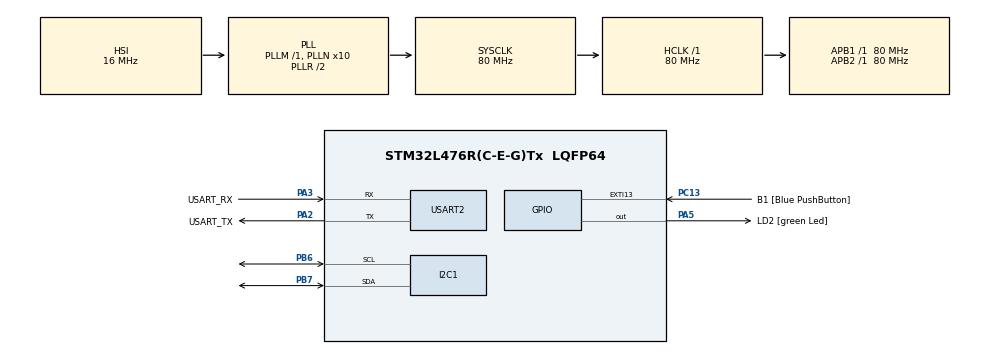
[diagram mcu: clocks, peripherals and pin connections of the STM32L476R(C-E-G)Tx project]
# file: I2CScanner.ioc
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I2C1.Timing=0x10909CEC
Mcu.Family=STM32L4
Mcu.Name=STM32L476R(C-E-G)Tx
Mcu.Package=LQFP64
NVIC.PriorityGroup=NVIC_PRIORITYGROUP_4
PA13\ (JTMS-SWDIO).GPIO_Label=TMS
PA13\ (JTMS-SWDIO).Mode=Serial_Wire
PA13\ (JTMS-SWDIO).Signal=SYS_JTMS-SWDIO
PA14\ (JTCK-SWCLK).GPIO_Label=TCK
PA14\ (JTCK-SWCLK).Mode=Serial_Wire
PA14\ (JTCK-SWCLK).Signal=SYS_JTCK-SWCLK
PA2.GPIO_Label=USART_TX
PA2.GPIO_Mode=GPIO_MODE_AF_PP
PA2.GPIO_PuPd=GPIO_NOPULL
PA2.GPIO_Speed=GPIO_SPEED_FREQ_VERY_HIGH
PA2.Mode=Asynchronous
PA2.Signal=USART2_TX
PA3.GPIO_Label=USART_RX
PA3.GPIO_Mode=GPIO_MODE_AF_PP
PA3.GPIO_PuPd=GPIO_NOPULL
PA3.GPIO_Speed=GPIO_SPEED_FREQ_VERY_HIGH
PA3.Mode=Asynchronous
PA3.Signal=USART2_RX
PA5.GPIO_Label=LD2 [green Led]
PA5.GPIO_ModeDefaultOutputPP=GPIO_MODE_OUTPUT_PP
PA5.GPIO_PuPd=GPIO_NOPULL
PA5.GPIO_Speed=GPIO_SPEED_FREQ_LOW
PA5.Signal=GPIO_Output
PB3\ (JTDO-TRACESWO).GPIO_Label=SWO
PB3\ (JTDO-TRACESWO).Signal=SYS_JTDO-SWO
PB6.Mode=I2C
PB6.Signal=I2C1_SCL
PB7.Mode=I2C
PB7.Signal=I2C1_SDA
PC13.GPIO_Label=B1 [Blue PushButton]
PC13.GPIO_ModeDefaultEXTI=GPIO_MODE_IT_FALLING
PC13.GPIO_PuPd=GPIO_NOPULL
PC13.Signal=GPXTI13
PC14-OSC32_IN\ (PC14).Mode=LSE-External-Oscillator
PC14-OSC32_IN\ (PC14).Signal=RCC_OSC32_IN
PC15-OSC32_OUT\ (PC15).Mode=LSE-External-Oscillator
PC15-OSC32_OUT\ (PC15).Signal=RCC_OSC32_OUT
PH0-OSC_IN\ (PH0).Signal=RCC_OSC_IN
PH1-OSC_OUT\ (PH1).Signal=RCC_OSC_OUT
ProjectManager.HeapSize=0x200
ProjectManager.StackSize=0x400
ProjectManager.TargetToolchain=STM32CubeIDE
RCC.ADCFreq_Value=64000000
RCC.AHBFreq_Value=80000000
RCC.APB1Freq_Value=80000000
RCC.APB1TimFreq_Value=80000000
RCC.APB2Freq_Value=80000000
RCC.APB2TimFreq_Value=80000000
RCC.CortexFreq_Value=80000000
RCC.HCLKFreq_Value=80000000
RCC.HSE_VALUE=8000000
RCC.HSI_VALUE=16000000
RCC.MSI_VALUE=4000000
RCC.PLLN=10
RCC.PLLSourceVirtual=RCC_PLLSOURCE_HSI
RCC.PREFETCH_ENABLE=1
RCC.SYSCLKFreq_VALUE=80000000
RCC.SYSCLKSource=RCC_SYSCLKSOURCE_PLLCLK
RCC.USBFreq_Value=64000000
RCC.VCOOutputFreq_Value=160000000
USART2.VirtualMode-Asynchronous=VM_ASYNC
board=NUCLEO-L476RG

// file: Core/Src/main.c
/* USER CODE BEGIN Header */
/**
  ******************************************************************************
  * @file           : main.c
  * @brief          : Main program body
  ******************************************************************************
  * @attention
  *
  * Copyright (c) 2022 STMicroelectronics.
  * All rights reserved.
  *
  * This software is licensed under terms that can be found in the LICENSE file
  * in the root directory of this software component.
  * If no LICENSE file comes with this software, it is provided AS-IS.
  *
  ******************************************************************************
  */
/* USER CODE END Header */
#include "main.h"

/* USER CODE BEGIN Includes */
#include <string.h>
#include <stdio.h>
#include <stdlib.h>

/* USER CODE END Includes */

 I2C_HandleTypeDef hi2c1;

UART_HandleTypeDef huart2;

void SystemClock_Config(void);
static void MX_GPIO_Init(void);
static void MX_USART2_UART_Init(void);
static void MX_I2C1_Init(void);

int main(void)
{
  /* USER CODE BEGIN 1 */
	uint8_t Buffer[100];

	const uint8_t DevAddress = 0x11;
	const uint8_t CommandCodeSize = 1;
	uint8_t RegisterBuffer[4];

	uint8_t CommandCode = 0x00;
	const uint8_t MaxCommandCode = 0x17;

  /* USER CODE END 1 */

  /* MCU Configuration--------------------------------------------------------*/

  /* Reset of all peripherals, Initializes the Flash interface and the Systick. */
  HAL_Init();

  /* Configure the system clock */
  SystemClock_Config();

  /* Initialize all configured peripherals */
  MX_GPIO_Init();
  MX_USART2_UART_Init();
  MX_I2C1_Init();
  /* USER CODE BEGIN 2 */

  void SendText(char Message[]) {
	strcpy((char*) Buffer, Message);
	HAL_UART_Transmit(&huart2, Buffer, strlen((char*)Buffer), 1000);
	return;
  }

  SendText("Begin I2C Scan for there/r/n");

  /* USER CODE END 2 */

  /* Infinite loop */
  while (1)
  {

    /* USER CODE BEGIN 3 */
	  char* MemReadResultBuffer = (char*) malloc(50 * sizeof(char));

	  for (CommandCode = 0x00; CommandCode <= MaxCommandCode; CommandCode++) {
		  HAL_I2C_Mem_Read(&hi2c1, DevAddress << 1, CommandCode, CommandCodeSize, RegisterBuffer, strlen((char*) RegisterBuffer), 1000);
		  HAL_UART_Transmit(&huart2, Buffer, strlen((char*)Buffer), 1000);
		  sprintf(MemReadResultBuffer, "%s %i %i/r/n", "Command Code:", RegisterBuffer[0], RegisterBuffer[1]);
		  SendText(MemReadResultBuffer);
		  HAL_Delay(500);
	  }

	  free(MemReadResultBuffer);
  }
  /* USER CODE END 3 */
}

void SystemClock_Config(void)
{
  RCC_OscInitTypeDef RCC_OscInitStruct = {0};
  RCC_ClkInitTypeDef RCC_ClkInitStruct = {0};

  /** Configure the main internal regulator output voltage
  */
  if (HAL_PWREx_ControlVoltageScaling(PWR_REGULATOR_VOLTAGE_SCALE1) != HAL_OK)
  {
    Error_Handler();
  }

  /** Initializes the RCC Oscillators according to the specified parameters
  * in the RCC_OscInitTypeDef structure.
  */
  RCC_OscInitStruct.OscillatorType = RCC_OSCILLATORTYPE_HSI;
  RCC_OscInitStruct.HSIState = RCC_HSI_ON;
  RCC_OscInitStruct.HSICalibrationValue = RCC_HSICALIBRATION_DEFAULT;
  RCC_OscInitStruct.PLL.PLLState = RCC_PLL_ON;
  RCC_OscInitStruct.PLL.PLLSource = RCC_PLLSOURCE_HSI;
  RCC_OscInitStruct.PLL.PLLM = 1;
  RCC_OscInitStruct.PLL.PLLN = 10;
  RCC_OscInitStruct.PLL.PLLP = RCC_PLLP_DIV7;
  RCC_OscInitStruct.PLL.PLLQ = RCC_PLLQ_DIV2;
  RCC_OscInitStruct.PLL.PLLR = RCC_PLLR_DIV2;
  if (HAL_RCC_OscConfig(&RCC_OscInitStruct) != HAL_OK)
  {
    Error_Handler();
  }

  /** Initializes the CPU, AHB and APB buses clocks
  */
  RCC_ClkInitStruct.ClockType = RCC_CLOCKTYPE_HCLK|RCC_CLOCKTYPE_SYSCLK
                              |RCC_CLOCKTYPE_PCLK1|RCC_CLOCKTYPE_PCLK2;
  RCC_ClkInitStruct.SYSCLKSource = RCC_SYSCLKSOURCE_PLLCLK;
  RCC_ClkInitStruct.AHBCLKDivider = RCC_SYSCLK_DIV1;
  RCC_ClkInitStruct.APB1CLKDivider = RCC_HCLK_DIV1;
  RCC_ClkInitStruct.APB2CLKDivider = RCC_HCLK_DIV1;

  if (HAL_RCC_ClockConfig(&RCC_ClkInitStruct, FLASH_LATENCY_4) != HAL_OK)
  {
    Error_Handler();
  }
}

static void MX_I2C1_Init(void)
{

  hi2c1.Instance = I2C1;
  hi2c1.Init.Timing = 0x10909CEC;
  hi2c1.Init.OwnAddress1 = 0;
  hi2c1.Init.AddressingMode = I2C_ADDRESSINGMODE_7BIT;
  hi2c1.Init.DualAddressMode = I2C_DUALADDRESS_DISABLE;
  hi2c1.Init.OwnAddress2 = 0;
  hi2c1.Init.OwnAddress2Masks = I2C_OA2_NOMASK;
  hi2c1.Init.GeneralCallMode = I2C_GENERALCALL_DISABLE;
  hi2c1.Init.NoStretchMode = I2C_NOSTRETCH_DISABLE;
  if (HAL_I2C_Init(&hi2c1) != HAL_OK)
  {
    Error_Handler();
  }

  /** Configure Analogue filter
  */
  if (HAL_I2CEx_ConfigAnalogFilter(&hi2c1, I2C_ANALOGFILTER_ENABLE) != HAL_OK)
  {
    Error_Handler();
  }

  /** Configure Digital filter
  */
  if (HAL_I2CEx_ConfigDigitalFilter(&hi2c1, 0) != HAL_OK)
  {
    Error_Handler();
  }

}

static void MX_USART2_UART_Init(void)
{

  huart2.Instance = USART2;
  huart2.Init.BaudRate = 115200;
  huart2.Init.WordLength = UART_WORDLENGTH_8B;
  huart2.Init.StopBits = UART_STOPBITS_1;
  huart2.Init.Parity = UART_PARITY_NONE;
  huart2.Init.Mode = UART_MODE_TX_RX;
  huart2.Init.HwFlowCtl = UART_HWCONTROL_NONE;
  huart2.Init.OverSampling = UART_OVERSAMPLING_16;
  huart2.Init.OneBitSampling = UART_ONE_BIT_SAMPLE_DISABLE;
  huart2.AdvancedInit.AdvFeatureInit = UART_ADVFEATURE_NO_INIT;
  if (HAL_UART_Init(&huart2) != HAL_OK)
  {
    Error_Handler();
  }

}

static void MX_GPIO_Init(void)
{
  GPIO_InitTypeDef GPIO_InitStruct = {0};

  /* GPIO Ports Clock Enable */
  __HAL_RCC_GPIOC_CLK_ENABLE();
  __HAL_RCC_GPIOH_CLK_ENABLE();
  __HAL_RCC_GPIOA_CLK_ENABLE();
  __HAL_RCC_GPIOB_CLK_ENABLE();

  /*Configure GPIO pin Output Level */
  HAL_GPIO_WritePin(LD2_GPIO_Port, LD2_Pin, GPIO_PIN_RESET);

  /*Configure GPIO pin : B1_Pin */
  GPIO_InitStruct.Pin = B1_Pin;
  GPIO_InitStruct.Mode = GPIO_MODE_IT_FALLING;
  GPIO_InitStruct.Pull = GPIO_NOPULL;
  HAL_GPIO_Init(B1_GPIO_Port, &GPIO_InitStruct);

  /*Configure GPIO pin : LD2_Pin */
  GPIO_InitStruct.Pin = LD2_Pin;
  GPIO_InitStruct.Mode = GPIO_MODE_OUTPUT_PP;
  GPIO_InitStruct.Pull = GPIO_NOPULL;
  GPIO_InitStruct.Speed = GPIO_SPEED_FREQ_LOW;
  HAL_GPIO_Init(LD2_GPIO_Port, &GPIO_InitStruct);

}

void Error_Handler(void)
{
  __disable_irq();
  while (1)
  {
  }
}
